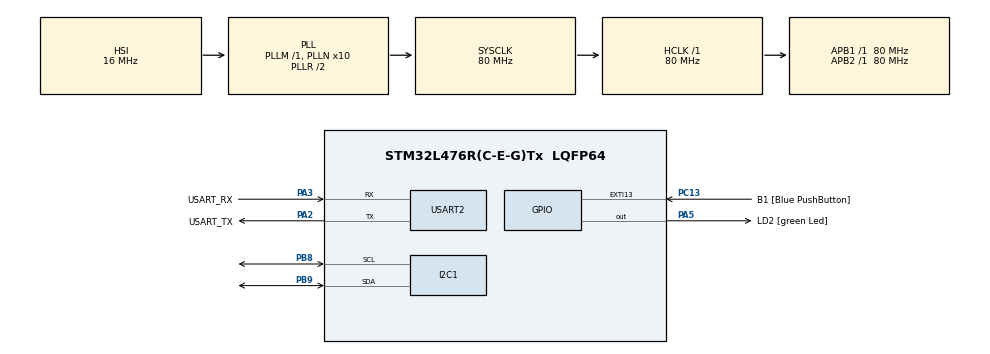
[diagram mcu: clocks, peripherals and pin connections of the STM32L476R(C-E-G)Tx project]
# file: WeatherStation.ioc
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I2C1.Timing=0x10D19CE4
Mcu.Family=STM32L4
Mcu.Name=STM32L476R(C-E-G)Tx
Mcu.Package=LQFP64
NVIC.PriorityGroup=NVIC_PRIORITYGROUP_4
PA13\ (JTMS-SWDIO).GPIO_Label=TMS
PA13\ (JTMS-SWDIO).Mode=Serial_Wire
PA13\ (JTMS-SWDIO).Signal=SYS_JTMS-SWDIO
PA14\ (JTCK-SWCLK).GPIO_Label=TCK
PA14\ (JTCK-SWCLK).Mode=Serial_Wire
PA14\ (JTCK-SWCLK).Signal=SYS_JTCK-SWCLK
PA2.GPIO_Label=USART_TX
PA2.GPIO_Mode=GPIO_MODE_AF_PP
PA2.GPIO_PuPd=GPIO_NOPULL
PA2.GPIO_Speed=GPIO_SPEED_FREQ_VERY_HIGH
PA2.Mode=Asynchronous
PA2.Signal=USART2_TX
PA3.GPIO_Label=USART_RX
PA3.GPIO_Mode=GPIO_MODE_AF_PP
PA3.GPIO_PuPd=GPIO_NOPULL
PA3.GPIO_Speed=GPIO_SPEED_FREQ_VERY_HIGH
PA3.Mode=Asynchronous
PA3.Signal=USART2_RX
PA5.GPIO_Label=LD2 [green Led]
PA5.GPIO_ModeDefaultOutputPP=GPIO_MODE_OUTPUT_PP
PA5.GPIO_PuPd=GPIO_NOPULL
PA5.GPIO_Speed=GPIO_SPEED_FREQ_LOW
PA5.Signal=GPIO_Output
PB3\ (JTDO-TRACESWO).GPIO_Label=SWO
PB3\ (JTDO-TRACESWO).Signal=SYS_JTDO-SWO
PB8.Mode=I2C
PB8.Signal=I2C1_SCL
PB9.Mode=I2C
PB9.Signal=I2C1_SDA
PC13.GPIO_Label=B1 [Blue PushButton]
PC13.GPIO_ModeDefaultEXTI=GPIO_MODE_IT_FALLING
PC13.GPIO_PuPd=GPIO_NOPULL
PC13.Signal=GPXTI13
PC14-OSC32_IN\ (PC14).Mode=LSE-External-Oscillator
PC14-OSC32_IN\ (PC14).Signal=RCC_OSC32_IN
PC15-OSC32_OUT\ (PC15).Mode=LSE-External-Oscillator
PC15-OSC32_OUT\ (PC15).Signal=RCC_OSC32_OUT
PH0-OSC_IN\ (PH0).Signal=RCC_OSC_IN
PH1-OSC_OUT\ (PH1).Signal=RCC_OSC_OUT
ProjectManager.HeapSize=0x200
ProjectManager.StackSize=0x400
ProjectManager.TargetToolchain=STM32CubeIDE
RCC.ADCFreq_Value=64000000
RCC.AHBFreq_Value=80000000
RCC.APB1Freq_Value=80000000
RCC.APB1TimFreq_Value=80000000
RCC.APB2Freq_Value=80000000
RCC.APB2TimFreq_Value=80000000
RCC.CortexFreq_Value=80000000
RCC.HCLKFreq_Value=80000000
RCC.HSE_VALUE=8000000
RCC.HSI_VALUE=16000000
RCC.MSI_VALUE=4000000
RCC.PLLN=10
RCC.PLLSourceVirtual=RCC_PLLSOURCE_HSI
RCC.PREFETCH_ENABLE=1
RCC.SYSCLKFreq_VALUE=80000000
RCC.SYSCLKSource=RCC_SYSCLKSOURCE_PLLCLK
RCC.USBFreq_Value=64000000
RCC.VCOOutputFreq_Value=160000000
USART2.VirtualMode-Asynchronous=VM_ASYNC
board=NUCLEO-L476RG

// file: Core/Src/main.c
/* USER CODE BEGIN Header */
/**
  ******************************************************************************
  * @file           : main.c
  * @brief          : Main program body
  ******************************************************************************
  * @attention
  *
  * Copyright (c) 2025 STMicroelectronics.
  * All rights reserved.
  *
  * This software is licensed under terms that can be found in the LICENSE file
  * in the root directory of this software component.
  * If no LICENSE file comes with this software, it is provided AS-IS.
  *
  ******************************************************************************
  */
/* USER CODE END Header */
#include "main.h"

/* USER CODE BEGIN Includes */
#include "ssd1306.h"
#include "stdio.h"
#include "ssd1306_fonts.h"
/* USER CODE END Includes */

I2C_HandleTypeDef hi2c1;

UART_HandleTypeDef huart2;

/* USER CODE BEGIN PV */
//Temperature
static const uint8_t SHT30_ADDR = 0x44 << 1;
static const uint8_t REG_TEMP1 = 0x2c;
static const uint8_t REG_TEMP2 = 0x10;

//Magonetometer
static const uint8_t MMC_ADDR = 0x30 << 1;
static uint8_t reg = 0x00;

/* USER CODE END PV */

void SystemClock_Config(void);
static void MX_GPIO_Init(void);
static void MX_USART2_UART_Init(void);
static void MX_I2C1_Init(void);
/* USER CODE BEGIN PFP */
int32_t convert_to_20bit_integer(uint32_t val) {
	if (val & 0x800000) {
		return val - 0x100000;
	}
	return val;
}
/* USER CODE END PFP */

int main(void)
{

  /* USER CODE BEGIN 1 */
	// Temperature and Humidity
	HAL_StatusTypeDef ret;
	uint8_t buf[8];
	uint16_t raw_temp;
	uint16_t raw_hum;
	float temperature;
	float humidity;
	char temp[50];
	char hum[50];

	// Magnetic Field Sensor
	uint8_t set[2] = {0x1B, 0x08};
	uint8_t cont[2] = {0x1A, 0x1C};
	uint8_t status = 0x18;
	uint8_t Cmm_freq_en[2] = {0x1B, 0x80};
	uint8_t Cmm_en[2] = {0x1D, 0x10};

	uint8_t pos[9];
	uint32_t raw_xvec;
	uint32_t raw_yvec;
	uint32_t raw_zvec;
	double xvec;
	double yvec;
	double zvec;

	uint8_t ctrl_0 = 0x1B;
	uint8_t res;

  /* USER CODE END 1 */

  /* MCU Configuration--------------------------------------------------------*/

  /* Reset of all peripherals, Initializes the Flash interface and the Systick. */
  HAL_Init();

  /* Configure the system clock */
  SystemClock_Config();

  /* Initialize all configured peripherals */
  MX_GPIO_Init();
  MX_USART2_UART_Init();
  MX_I2C1_Init();
  /* USER CODE BEGIN 2 */
  ssd1306_Init();
  ret = HAL_I2C_Master_Transmit(&hi2c1, MMC_ADDR, set, 2, HAL_MAX_DELAY);
    if (ret != HAL_OK) {
  	  printf("Error setting mmc\n");
    } else {
  	  printf("mmc set\n");
  	  HAL_Delay(10);
  	  ret = HAL_I2C_Master_Transmit(&hi2c1, MMC_ADDR, cont, 2, HAL_MAX_DELAY);
  	  if ( ret != HAL_OK ) {
  		  printf("Error setting continuous mode\n");
  	  } else {
  		  printf("Continuous mode set\n");
  		  ret = HAL_I2C_Master_Transmit(&hi2c1, MMC_ADDR, Cmm_freq_en, 2, HAL_MAX_DELAY);
  		  if ( ret != HAL_OK ) {
  			  printf("Error setting Cmm_freq_en\n");
  		  } else {
  			  printf("CMM_freq_en set\n");
  			  ret = HAL_I2C_Master_Transmit(&hi2c1, MMC_ADDR, Cmm_en, 2, HAL_MAX_DELAY);
  			  if ( ret != HAL_OK ) {
  				  printf("Error setting Cmm_en\n");
  			  } else {
  				  printf("Cmm_en set\n");
  			  }
  		  }
  	  }
    }

  /* USER CODE END 2 */

  /* Infinite loop */
  /* USER CODE BEGIN WHILE */
  while (1)
  {

	  HAL_Delay(100);
	  buf[0] = REG_TEMP1;
	  buf[1] = REG_TEMP2;
	  ret = HAL_I2C_Master_Transmit(&hi2c1, SHT30_ADDR, buf, 2, HAL_MAX_DELAY);
	  if (ret != HAL_OK ) {
//		  printf("Error Sending Temperature\n");
	  } else {
		  ret = HAL_I2C_Master_Receive(&hi2c1, SHT30_ADDR, buf, 6, HAL_MAX_DELAY);
		  if (ret != HAL_OK ) {
//			  printf("Error Receiving Temperature\n");
		  } else {
			  raw_temp = ((uint16_t)buf[0] << 8) | buf[1];
			  raw_hum = ((uint16_t)buf[3] << 8) | (uint16_t)buf[4];
			  temperature = -45 + 175 * (((float)raw_temp)/65535);
			  humidity = 100 * (float)raw_hum/65535;
			  sprintf(temp, "Temperature: %.2f F\n", temperature);
			  sprintf(hum, "Humidity: %.2f %%\n", humidity);
//			  printf(temp);
//			  printf(hum);

			  ssd1306_SetCursor(5, 5);
			  ssd1306_WriteString(temp, Font_7x10, White);
			  ssd1306_SetCursor(5, 20);
			  ssd1306_WriteString(hum, Font_7x10, White);
			  ssd1306_UpdateScreen();
		  	  }
		 }

	  ret = HAL_I2C_Master_Receive(&hi2c1, MMC_ADDR, &status, 1, HAL_MAX_DELAY);
	  if ( ret != HAL_OK ){
		  printf("Error reading status\n");
	  } else {
	  if ( (status & 0x40) == 0x40 ) {
		  printf("Data is ready!\n");
		 ret = HAL_I2C_Master_Transmit(&hi2c1, MMC_ADDR, &reg, 1, HAL_MAX_DELAY);
		 if (ret != HAL_OK) {
			 printf("Error Sending Magnet\n");
		 } else {
			 ret = HAL_I2C_Master_Receive(&hi2c1, MMC_ADDR, pos, 9, HAL_MAX_DELAY);
			 if (ret != HAL_OK) {
				 printf("Error Receiving Magnet\n");
			 } else {

				 raw_xvec = ((uint32_t)pos[0] << 12) | ((uint32_t)pos[1] << 4) | (((uint32_t)pos[6] >> 4) & 0x0F);
				 raw_yvec = ((uint32_t)pos[2] << 12) | ((uint32_t)pos[3] << 4) | (((uint32_t)pos[7] >> 4) & 0x0F);
				 raw_zvec = ((uint32_t)pos[4] << 12) | ((uint32_t)pos[5] << 4) | (((uint32_t)pos[8] >> 4) & 0x0F);

				 xvec = (double)convert_to_20bit_integer(raw_xvec);
				 yvec = (double)convert_to_20bit_integer(raw_yvec);
				 zvec = (double)convert_to_20bit_integer(raw_zvec);

				 printf("X: %.2f\n", xvec);
				 printf("Y: %.2f\n", yvec);
				 printf("Z: %.2f\n", zvec);
		  }

			}
		  }
	  }

  }
}

    /* USER CODE END WHILE */

void SystemClock_Config(void)
{
  RCC_OscInitTypeDef RCC_OscInitStruct = {0};
  RCC_ClkInitTypeDef RCC_ClkInitStruct = {0};

  /** Configure the main internal regulator output voltage
  */
  if (HAL_PWREx_ControlVoltageScaling(PWR_REGULATOR_VOLTAGE_SCALE1) != HAL_OK)
  {
    Error_Handler();
  }

  /** Initializes the RCC Oscillators according to the specified parameters
  * in the RCC_OscInitTypeDef structure.
  */
  RCC_OscInitStruct.OscillatorType = RCC_OSCILLATORTYPE_HSI;
  RCC_OscInitStruct.HSIState = RCC_HSI_ON;
  RCC_OscInitStruct.HSICalibrationValue = RCC_HSICALIBRATION_DEFAULT;
  RCC_OscInitStruct.PLL.PLLState = RCC_PLL_ON;
  RCC_OscInitStruct.PLL.PLLSource = RCC_PLLSOURCE_HSI;
  RCC_OscInitStruct.PLL.PLLM = 1;
  RCC_OscInitStruct.PLL.PLLN = 10;
  RCC_OscInitStruct.PLL.PLLP = RCC_PLLP_DIV7;
  RCC_OscInitStruct.PLL.PLLQ = RCC_PLLQ_DIV2;
  RCC_OscInitStruct.PLL.PLLR = RCC_PLLR_DIV2;
  if (HAL_RCC_OscConfig(&RCC_OscInitStruct) != HAL_OK)
  {
    Error_Handler();
  }

  /** Initializes the CPU, AHB and APB buses clocks
  */
  RCC_ClkInitStruct.ClockType = RCC_CLOCKTYPE_HCLK|RCC_CLOCKTYPE_SYSCLK
                              |RCC_CLOCKTYPE_PCLK1|RCC_CLOCKTYPE_PCLK2;
  RCC_ClkInitStruct.SYSCLKSource = RCC_SYSCLKSOURCE_PLLCLK;
  RCC_ClkInitStruct.AHBCLKDivider = RCC_SYSCLK_DIV1;
  RCC_ClkInitStruct.APB1CLKDivider = RCC_HCLK_DIV1;
  RCC_ClkInitStruct.APB2CLKDivider = RCC_HCLK_DIV1;

  if (HAL_RCC_ClockConfig(&RCC_ClkInitStruct, FLASH_LATENCY_4) != HAL_OK)
  {
    Error_Handler();
  }
}

static void MX_I2C1_Init(void)
{

  hi2c1.Instance = I2C1;
  hi2c1.Init.Timing = 0x10D19CE4;
  hi2c1.Init.OwnAddress1 = 0;
  hi2c1.Init.AddressingMode = I2C_ADDRESSINGMODE_7BIT;
  hi2c1.Init.DualAddressMode = I2C_DUALADDRESS_DISABLE;
  hi2c1.Init.OwnAddress2 = 0;
  hi2c1.Init.OwnAddress2Masks = I2C_OA2_NOMASK;
  hi2c1.Init.GeneralCallMode = I2C_GENERALCALL_DISABLE;
  hi2c1.Init.NoStretchMode = I2C_NOSTRETCH_DISABLE;
  if (HAL_I2C_Init(&hi2c1) != HAL_OK)
  {
    Error_Handler();
  }

  /** Configure Analogue filter
  */
  if (HAL_I2CEx_ConfigAnalogFilter(&hi2c1, I2C_ANALOGFILTER_ENABLE) != HAL_OK)
  {
    Error_Handler();
  }

  /** Configure Digital filter
  */
  if (HAL_I2CEx_ConfigDigitalFilter(&hi2c1, 0) != HAL_OK)
  {
    Error_Handler();
  }

}

static void MX_USART2_UART_Init(void)
{

  huart2.Instance = USART2;
  huart2.Init.BaudRate = 115200;
  huart2.Init.WordLength = UART_WORDLENGTH_8B;
  huart2.Init.StopBits = UART_STOPBITS_1;
  huart2.Init.Parity = UART_PARITY_NONE;
  huart2.Init.Mode = UART_MODE_TX_RX;
  huart2.Init.HwFlowCtl = UART_HWCONTROL_NONE;
  huart2.Init.OverSampling = UART_OVERSAMPLING_16;
  huart2.Init.OneBitSampling = UART_ONE_BIT_SAMPLE_DISABLE;
  huart2.AdvancedInit.AdvFeatureInit = UART_ADVFEATURE_NO_INIT;
  if (HAL_UART_Init(&huart2) != HAL_OK)
  {
    Error_Handler();
  }

}

static void MX_GPIO_Init(void)
{
  GPIO_InitTypeDef GPIO_InitStruct = {0};

  /* GPIO Ports Clock Enable */
  __HAL_RCC_GPIOC_CLK_ENABLE();
  __HAL_RCC_GPIOH_CLK_ENABLE();
  __HAL_RCC_GPIOA_CLK_ENABLE();
  __HAL_RCC_GPIOB_CLK_ENABLE();

  /*Configure GPIO pin Output Level */
  HAL_GPIO_WritePin(LD2_GPIO_Port, LD2_Pin, GPIO_PIN_RESET);

  /*Configure GPIO pin : B1_Pin */
  GPIO_InitStruct.Pin = B1_Pin;
  GPIO_InitStruct.Mode = GPIO_MODE_IT_FALLING;
  GPIO_InitStruct.Pull = GPIO_NOPULL;
  HAL_GPIO_Init(B1_GPIO_Port, &GPIO_InitStruct);

  /*Configure GPIO pin : LD2_Pin */
  GPIO_InitStruct.Pin = LD2_Pin;
  GPIO_InitStruct.Mode = GPIO_MODE_OUTPUT_PP;
  GPIO_InitStruct.Pull = GPIO_NOPULL;
  GPIO_InitStruct.Speed = GPIO_SPEED_FREQ_LOW;
  HAL_GPIO_Init(LD2_GPIO_Port, &GPIO_InitStruct);

}

/* USER CODE BEGIN 4 */
int _write(int file, char *ptr, int len)
{
	int DataIdx;

	for (DataIdx = 0; DataIdx < len; DataIdx++)
	{
		ITM_SendChar(*ptr++);
	}
	return len;

}
/* USER CODE END 4 */

void Error_Handler(void)
{
  __disable_irq();
  while (1)
  {
  }
}
